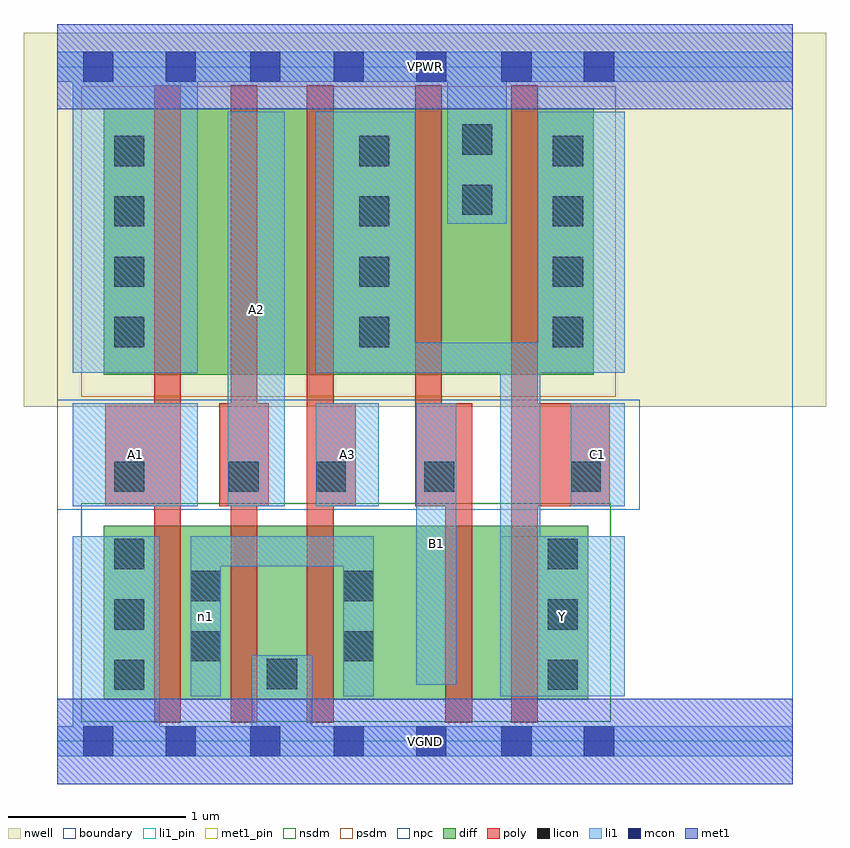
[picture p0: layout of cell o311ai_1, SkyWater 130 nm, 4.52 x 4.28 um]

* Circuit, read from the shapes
.subckt o311ai_1 A1 A2 A3 B1 C1 VGND VPWR Y n1
XM1 n1 A1 VGND VSUBS sky130_fd_pr__nfet_01v8 w=0.98 l=0.15
XM2 VGND A2 n1 VSUBS sky130_fd_pr__nfet_01v8 w=0.98 l=0.15
XM3 n1 A3 VGND VSUBS sky130_fd_pr__nfet_01v8 w=0.98 l=0.15
XM4 n2 B1 n1 VSUBS sky130_fd_pr__nfet_01v8 w=0.98 l=0.15
XM5 Y C1 n2 VSUBS sky130_fd_pr__nfet_01v8 w=0.98 l=0.15
XM6 n3 A1 VPWR n4 sky130_fd_pr__pfet_01v8 w=1.5 l=0.15
XM7 n5 A2 n3 n4 sky130_fd_pr__pfet_01v8 w=1.5 l=0.15
XM8 Y A3 n5 n4 sky130_fd_pr__pfet_01v8 w=1.5 l=0.15
XM9 VPWR B1 Y n4 sky130_fd_pr__pfet_01v8 w=1.5 l=0.15
XM10 Y C1 VPWR n4 sky130_fd_pr__pfet_01v8 w=1.5 l=0.15
.ends

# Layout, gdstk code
import gdstk
lib = gdstk.Library(unit=1e-6, precision=1e-09)
def R(c, l, rs):  # rectangles x0, y0, x1, y1
    for r in rs: c.add(gdstk.rectangle(r[:2], r[2:], *l))
def A(c, l, x, y, w, h, nx, ny, dx, dy):  # array of equal rectangles
    R(c, l, [(x+i*dx, y+j*dy, x+i*dx+w, y+j*dy+h) for i in range(nx) for j in range(ny)])
nwell = (64, 20)
diff = (65, 20)
poly = (66, 20)
licon = (66, 44)
li1_pin = (67, 16)
li1 = (67, 20)
mcon = (67, 44)
met1_pin = (68, 16)
met1 = (68, 20)
nsdm = (93, 44)
psdm = (94, 20)
npc = (95, 20)
boundary = (235, 4)

o311ai_1 = lib.new_cell('o311ai_1')
R(o311ai_1, nwell, [(-0.19,1.885,4.33,3.99), (0,1.885,4.14,3.99)])
R(o311ai_1, diff, [(0.26,0.235,2.99,1.215), (0.26,2.065,3.02,3.565)])
A(o311ai_1, poly, 0.545, 0.105, 0.15, 3.59, 3, 1, 0.43, 0)
R(o311ai_1, poly, [(2.185,0.105,2.335,1.905), (2.555,0.105,2.705,3.695), (0.27,1.325,0.695,1.905), (0.91,1.325,1.19,1.905), (1.405,1.325,1.68,1.905), (2.015,1.325,2.165,3.695), (2.015,1.325,2.335,1.905), (2.555,1.325,3.11,1.905)])
A(o311ai_1, licon, 0.32, 0.29, 0.17, 0.17, 1, 3, 0, 0.34)
A(o311ai_1, licon, 2.76, 0.29, 0.17, 0.17, 1, 3, 0, 0.34)
A(o311ai_1, licon, 0.32, 2.22, 0.17, 0.17, 1, 4, 0, 0.34)
A(o311ai_1, licon, 1.7, 2.22, 0.17, 0.17, 1, 4, 0, 0.34)
A(o311ai_1, licon, 2.79, 2.22, 0.17, 0.17, 1, 4, 0, 0.34)
R(o311ai_1, licon, [(1.18,0.295,1.35,0.465), (0.75,0.45,0.92,0.62), (1.61,0.45,1.78,0.62), (0.75,0.79,0.92,0.96), (1.61,0.79,1.78,0.96), (0.32,1.405,0.49,1.575), (0.965,1.405,1.135,1.575), (1.455,1.405,1.625,1.575), (2.065,1.405,2.235,1.575), (2.89,1.405,3.06,1.575), (2.28,2.965,2.45,3.135), (2.28,3.305,2.45,3.475)])
R(o311ai_1, li1_pin, [(2.495,0.255,3.195,1.155), (2.02,0.32,2.245,1.905), (0.085,1.325,0.79,1.905), (0.96,1.325,1.28,3.545), (1.455,1.325,1.81,1.905), (2.89,1.325,3.195,1.905)])
R(o311ai_1, li1, [(0,-0.085,4.14,0.085), (0.085,-0.085,0.575,1.155), (1.095,-0.085,1.435,0.485), (0.75,0.255,0.92,1.155), (1.61,0.255,1.78,1.155), (2.495,0.255,3.195,1.155), (2.495,0.255,2.72,2.245), (2.02,0.32,2.245,1.905), (0.75,0.985,1.78,1.155), (0.085,1.325,0.79,1.905), (0.96,1.325,1.28,3.545), (1.455,1.325,1.81,1.905), (2.89,1.325,3.195,1.905), (0.085,2.075,0.79,3.885), (1.455,2.075,2.015,3.545), (1.455,2.075,3.195,2.245), (2.705,2.075,3.195,3.545), (2.195,2.915,2.53,3.885), (0,3.715,4.14,3.885)])
R(o311ai_1, mcon, [(0.145,-0.085,0.315,0.085), (0.61,-0.085,0.78,0.085), (1.085,-0.085,1.255,0.085), (1.555,-0.085,1.725,0.085), (2.02,-0.085,2.19,0.085), (2.5,-0.085,2.67,0.085), (2.965,-0.085,3.135,0.085), (0.145,3.715,0.315,3.885), (0.61,3.715,0.78,3.885), (1.085,3.715,1.255,3.885), (1.555,3.715,1.725,3.885), (2.02,3.715,2.19,3.885), (2.5,3.715,2.67,3.885), (2.965,3.715,3.135,3.885)])
R(o311ai_1, met1_pin, [(0,-0.24,4.14,0.24), (0,3.56,4.14,4.04)])
R(o311ai_1, met1, [(0,-0.24,4.14,0.24), (0,3.56,4.14,4.04)])
R(o311ai_1, nsdm, [(0.135,0.11,3.115,1.34)])
R(o311ai_1, psdm, [(0.135,1.94,3.145,3.69)])
R(o311ai_1, npc, [(0,1.305,3.28,1.925)])
R(o311ai_1, boundary, [(0,0,4.14,3.8)])
o311ai_1.add(gdstk.Label('A1', (0.437,1.615), layer=67, texttype=5))
o311ai_1.add(gdstk.Label('A2', (1.12,2.435), layer=67, texttype=5))
o311ai_1.add(gdstk.Label('A3', (1.632,1.615), layer=67, texttype=5))
o311ai_1.add(gdstk.Label('B1', (2.132,1.112), layer=67, texttype=5))
o311ai_1.add(gdstk.Label('C1', (3.042,1.615), layer=67, texttype=5))
o311ai_1.add(gdstk.Label('Y', (2.845,0.705), layer=67, texttype=5))
o311ai_1.add(gdstk.Label('n1', (0.835,0.705), layer=67, texttype=5))
o311ai_1.add(gdstk.Label('VPWR', (2.07,3.8), layer=68, texttype=5))
o311ai_1.add(gdstk.Label('VGND', (2.07,0), layer=68, texttype=5))
o311ai_1.add(gdstk.Label('A1', (0.437,1.615), layer=67, texttype=16))
o311ai_1.add(gdstk.Label('A2', (1.12,2.435), layer=67, texttype=16))
o311ai_1.add(gdstk.Label('A3', (1.632,1.615), layer=67, texttype=16))
o311ai_1.add(gdstk.Label('B1', (2.132,1.112), layer=67, texttype=16))
o311ai_1.add(gdstk.Label('C1', (3.042,1.615), layer=67, texttype=16))
o311ai_1.add(gdstk.Label('Y', (2.845,0.705), layer=67, texttype=16))
o311ai_1.add(gdstk.Label('VPWR', (2.07,3.8), layer=68, texttype=16))
o311ai_1.add(gdstk.Label('VGND', (2.07,0), layer=68, texttype=16))

lib.write_gds('o311ai_1.gds')
